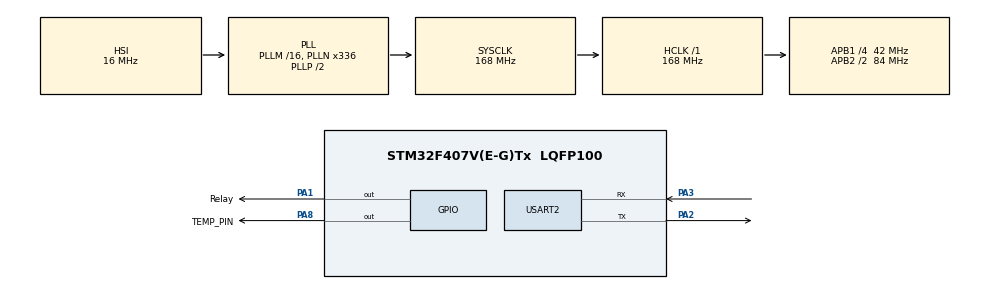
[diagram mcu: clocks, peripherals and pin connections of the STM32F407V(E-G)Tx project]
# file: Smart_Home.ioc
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FREERTOS.Queues01=Uart_queue,256,uint8_t,0,Dynamic,NULL,NULL;Temp_queue,10,uint8_t,0,Dynamic,NULL,NULL
FREERTOS.Tasks01=UART_TASK,24,128,UART_Task,Default,NULL,Dynamic,NULL,NULL;SENSOR_TASK,8,128,Sensor_Task,Default,NULL,Dynamic,NULL,NULL;TEMP_TASK,24,128,Temp_task,Default,NULL,Dynamic,NULL,NULL;TEMP_UART_TASK,8,128,Temp_Uart_Task,Default,NULL,Dynamic,NULL,NULL
Mcu.Family=STM32F4
Mcu.Name=STM32F407V(E-G)Tx
Mcu.Package=LQFP100
NVIC.PriorityGroup=NVIC_PRIORITYGROUP_4
NVIC.TIM5_IRQn=true\:15\:0\:false\:false\:true\:false\:false\:true\:true
NVIC.TimeBase=TIM5_IRQn
NVIC.TimeBaseIP=TIM5
NVIC.USART2_IRQn=true\:5\:0\:true\:false\:true\:true\:true\:true\:true
PA1.GPIO_Label=Relay
PA1.GPIO_ModeDefaultOutputPP=GPIO_MODE_OUTPUT_PP
PA1.GPIO_PuPd=GPIO_PULLUP
PA1.PinState=GPIO_PIN_SET
PA1.Signal=GPIO_Output
PA13.Mode=Trace_Asynchronous_SW
PA13.Signal=SYS_JTMS-SWDIO
PA14.Mode=Trace_Asynchronous_SW
PA14.Signal=SYS_JTCK-SWCLK
PA2.Mode=Asynchronous
PA2.Signal=USART2_TX
PA3.Mode=Asynchronous
PA3.Signal=USART2_RX
PA8.GPIO_Label=TEMP_PIN
PA8.GPIO_ModeDefaultOutputPP=GPIO_MODE_OUTPUT_OD
PA8.GPIO_PuPd=GPIO_PULLUP
PA8.Signal=GPIO_Output
PB3.Mode=Trace_Asynchronous_SW
PB3.Signal=SYS_JTDO-SWO
ProjectManager.HeapSize=0x200
ProjectManager.StackSize=0x400
ProjectManager.TargetToolchain=STM32CubeIDE
RCC.48MHZClocksFreq_Value=48000000
RCC.AHBFreq_Value=168000000
RCC.APB1CLKDivider=RCC_HCLK_DIV4
RCC.APB1Freq_Value=42000000
RCC.APB1TimFreq_Value=84000000
RCC.APB2CLKDivider=RCC_HCLK_DIV2
RCC.APB2Freq_Value=84000000
RCC.APB2TimFreq_Value=168000000
RCC.CortexFreq_Value=168000000
RCC.HCLKFreq_Value=168000000
RCC.HSE_VALUE=8000000
RCC.HSI_VALUE=16000000
RCC.LSE_VALUE=32768
RCC.PLLN=336
RCC.PLLQ=7
RCC.SYSCLKFreq_VALUE=168000000
RCC.SYSCLKSource=RCC_SYSCLKSOURCE_PLLCLK
RCC.VCOOutputFreq_Value=336000000
TIM6.AutoReloadPreload=TIM_AUTORELOAD_PRELOAD_ENABLE
TIM6.Prescaler=84 - 1
USART2.VirtualMode=VM_ASYNC
VP_FREERTOS_VS_CMSIS_V2.Mode=CMSIS_V2
VP_SYS_VS_tim5.Mode=TIM5
VP_TIM6_VS_ClockSourceINT.Mode=Enable_Timer
board=STM32F407G-DISC1

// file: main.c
/* USER CODE BEGIN Header */
/**
  ******************************************************************************
  * @file           : main.c
  * @brief          : Main program body
  ******************************************************************************
  * @attention
  *
  * Copyright (c) 2025 STMicroelectronics.
  * All rights reserved.
  *
  * This software is licensed under terms that can be found in the LICENSE file
  * in the root directory of this software component.
  * If no LICENSE file comes with this software, it is provided AS-IS.
  *
  ******************************************************************************
  */
/* USER CODE END Header */
#include "main.h"
#include "cmsis_os.h"

/* USER CODE BEGIN Includes */
#include <stdio.h>
#include <string.h>
#include <math.h>
#include "strcture.h"
#include "relay_control.h"
#include "dht11_driver.h"
#include "queue.h"
/* USER CODE END Includes */

/* USER CODE BEGIN PD */
uint8_t rx;
provision_t g_provision;
command_t   g_command;
config_t    g_config;
#define MAX_PAYLOAD_SIZE  64

/* USER CODE END PD */

TIM_HandleTypeDef htim6;

UART_HandleTypeDef huart2;

/* Definitions for UART_TASK */
osThreadId_t UART_TASKHandle;
const osThreadAttr_t UART_TASK_attributes = {
  .name = "UART_TASK",
  .stack_size = 128 * 4,
  .priority = (osPriority_t) osPriorityNormal,
};
/* Definitions for SENSOR_TASK */
osThreadId_t SENSOR_TASKHandle;
const osThreadAttr_t SENSOR_TASK_attributes = {
  .name = "SENSOR_TASK",
  .stack_size = 128 * 4,
  .priority = (osPriority_t) osPriorityLow,
};
/* Definitions for TEMP_TASK */
osThreadId_t TEMP_TASKHandle;
const osThreadAttr_t TEMP_TASK_attributes = {
  .name = "TEMP_TASK",
  .stack_size = 128 * 4,
  .priority = (osPriority_t) osPriorityNormal,
};
/* Definitions for TEMP_UART_TASK */
osThreadId_t TEMP_UART_TASKHandle;
const osThreadAttr_t TEMP_UART_TASK_attributes = {
  .name = "TEMP_UART_TASK",
  .stack_size = 128 * 4,
  .priority = (osPriority_t) osPriorityLow,
};
/* Definitions for Uart_queue */
osMessageQueueId_t Uart_queueHandle;
const osMessageQueueAttr_t Uart_queue_attributes = {
  .name = "Uart_queue"
};
/* Definitions for Temp_queue */
osMessageQueueId_t Temp_queueHandle;
const osMessageQueueAttr_t Temp_queue_attributes = {
  .name = "Temp_queue"
};

void SystemClock_Config(void);
static void MX_GPIO_Init(void);
static void MX_USART2_UART_Init(void);
static void MX_TIM6_Init(void);
void UART_Task(void *argument);
void Sensor_Task(void *argument);
void Temp_task(void *argument);
void Temp_Uart_Task(void *argument);
void Handle_Command_Frame(frame_header_t *header,
                          uint8_t *payload,
                          uint16_t payloadLen);

int main(void)
{

  /* MCU Configuration--------------------------------------------------------*/

  /* Reset of all peripherals, Initializes the Flash interface and the Systick. */
  HAL_Init();

  /* Configure the system clock */
  SystemClock_Config();

  /* Initialize all configured peripherals */
  MX_GPIO_Init();
  MX_USART2_UART_Init();
  MX_TIM6_Init();
  /* USER CODE BEGIN 2 */

  // Initialize DHT11 (pin example PA8)
    dht11_init(GPIOA, GPIO_PIN_8, &htim6);

   Relay_Init();

   HAL_UART_Receive_IT(&huart2, &rx, 1);

  /* USER CODE END 2 */

  /* Init scheduler */
  osKernelInitialize();

  /* Create the queue(s) */
  /* creation of Uart_queue */
  Uart_queueHandle = osMessageQueueNew (256, sizeof(uint8_t), &Uart_queue_attributes);

  /* creation of Temp_queue */
  Temp_queueHandle = osMessageQueueNew (10, sizeof(dht11_data), &Temp_queue_attributes);

  /* Create the thread(s) */
  /* creation of UART_TASK */
  UART_TASKHandle = osThreadNew(UART_Task, NULL, &UART_TASK_attributes);

  /* creation of SENSOR_TASK */
  SENSOR_TASKHandle = osThreadNew(Sensor_Task, NULL, &SENSOR_TASK_attributes);

  /* creation of TEMP_TASK */
  TEMP_TASKHandle = osThreadNew(Temp_task, NULL, &TEMP_TASK_attributes);

  /* creation of TEMP_UART_TASK */
  TEMP_UART_TASKHandle = osThreadNew(Temp_Uart_Task, NULL, &TEMP_UART_TASK_attributes);

  /* Start scheduler */
  osKernelStart();

  /* We should never get here as control is now taken by the scheduler */

  /* Infinite loop */
  while (1)
  {

  }
}

void SystemClock_Config(void)
{
  RCC_OscInitTypeDef RCC_OscInitStruct = {0};
  RCC_ClkInitTypeDef RCC_ClkInitStruct = {0};

  /** Configure the main internal regulator output voltage
  */
  __HAL_RCC_PWR_CLK_ENABLE();
  __HAL_PWR_VOLTAGESCALING_CONFIG(PWR_REGULATOR_VOLTAGE_SCALE1);

  /** Initializes the RCC Oscillators according to the specified parameters
  * in the RCC_OscInitTypeDef structure.
  */
  RCC_OscInitStruct.OscillatorType = RCC_OSCILLATORTYPE_HSI;
  RCC_OscInitStruct.HSIState = RCC_HSI_ON;
  RCC_OscInitStruct.HSICalibrationValue = RCC_HSICALIBRATION_DEFAULT;
  RCC_OscInitStruct.PLL.PLLState = RCC_PLL_ON;
  RCC_OscInitStruct.PLL.PLLSource = RCC_PLLSOURCE_HSI;
  RCC_OscInitStruct.PLL.PLLM = 16;
  RCC_OscInitStruct.PLL.PLLN = 336;
  RCC_OscInitStruct.PLL.PLLP = RCC_PLLP_DIV2;
  RCC_OscInitStruct.PLL.PLLQ = 7;
  if (HAL_RCC_OscConfig(&RCC_OscInitStruct) != HAL_OK)
  {
    Error_Handler();
  }

  /** Initializes the CPU, AHB and APB buses clocks
  */
  RCC_ClkInitStruct.ClockType = RCC_CLOCKTYPE_HCLK|RCC_CLOCKTYPE_SYSCLK
                              |RCC_CLOCKTYPE_PCLK1|RCC_CLOCKTYPE_PCLK2;
  RCC_ClkInitStruct.SYSCLKSource = RCC_SYSCLKSOURCE_PLLCLK;
  RCC_ClkInitStruct.AHBCLKDivider = RCC_SYSCLK_DIV1;
  RCC_ClkInitStruct.APB1CLKDivider = RCC_HCLK_DIV4;
  RCC_ClkInitStruct.APB2CLKDivider = RCC_HCLK_DIV2;

  if (HAL_RCC_ClockConfig(&RCC_ClkInitStruct, FLASH_LATENCY_5) != HAL_OK)
  {
    Error_Handler();
  }
}

static void MX_TIM6_Init(void)
{

  TIM_MasterConfigTypeDef sMasterConfig = {0};

  htim6.Instance = TIM6;
  htim6.Init.Prescaler = 84 - 1;
  htim6.Init.CounterMode = TIM_COUNTERMODE_UP;
  htim6.Init.Period = 65535;
  htim6.Init.AutoReloadPreload = TIM_AUTORELOAD_PRELOAD_ENABLE;
  if (HAL_TIM_Base_Init(&htim6) != HAL_OK)
  {
    Error_Handler();
  }
  sMasterConfig.MasterOutputTrigger = TIM_TRGO_RESET;
  sMasterConfig.MasterSlaveMode = TIM_MASTERSLAVEMODE_DISABLE;
  if (HAL_TIMEx_MasterConfigSynchronization(&htim6, &sMasterConfig) != HAL_OK)
  {
    Error_Handler();
  }

}

static void MX_USART2_UART_Init(void)
{

  huart2.Instance = USART2;
  huart2.Init.BaudRate = 115200;
  huart2.Init.WordLength = UART_WORDLENGTH_8B;
  huart2.Init.StopBits = UART_STOPBITS_1;
  huart2.Init.Parity = UART_PARITY_NONE;
  huart2.Init.Mode = UART_MODE_TX_RX;
  huart2.Init.HwFlowCtl = UART_HWCONTROL_NONE;
  huart2.Init.OverSampling = UART_OVERSAMPLING_16;
  if (HAL_UART_Init(&huart2) != HAL_OK)
  {
    Error_Handler();
  }

}

static void MX_GPIO_Init(void)
{
  GPIO_InitTypeDef GPIO_InitStruct = {0};

  /* GPIO Ports Clock Enable */
  __HAL_RCC_GPIOA_CLK_ENABLE();
  __HAL_RCC_GPIOB_CLK_ENABLE();

  /*Configure GPIO pin Output Level */
  HAL_GPIO_WritePin(Relay_GPIO_Port, Relay_Pin, GPIO_PIN_SET);

  /*Configure GPIO pin Output Level */
  HAL_GPIO_WritePin(TEMP_PIN_GPIO_Port, TEMP_PIN_Pin, GPIO_PIN_RESET);

  /*Configure GPIO pin : Relay_Pin */
  GPIO_InitStruct.Pin = Relay_Pin;
  GPIO_InitStruct.Mode = GPIO_MODE_OUTPUT_PP;
  GPIO_InitStruct.Pull = GPIO_PULLUP;
  GPIO_InitStruct.Speed = GPIO_SPEED_FREQ_LOW;
  HAL_GPIO_Init(Relay_GPIO_Port, &GPIO_InitStruct);

  /*Configure GPIO pin : TEMP_PIN_Pin */
  GPIO_InitStruct.Pin = TEMP_PIN_Pin;
  GPIO_InitStruct.Mode = GPIO_MODE_OUTPUT_OD;
  GPIO_InitStruct.Pull = GPIO_PULLUP;
  GPIO_InitStruct.Speed = GPIO_SPEED_FREQ_LOW;
  HAL_GPIO_Init(TEMP_PIN_GPIO_Port, &GPIO_InitStruct);

}

/* USER CODE BEGIN 4 */

int _write(int file, char *ptr, int len)
{
  (void)file;
  int DataIdx;

  for (DataIdx = 0; DataIdx < len; DataIdx++)
  {
    ITM_SendChar(*ptr++);
  }
  return len;
}
void HAL_UART_RxCpltCallback(UART_HandleTypeDef *huart)
{
    if (huart->Instance == USART2)
    {
        osMessageQueuePut(Uart_queueHandle, &rx, 0, 0);

        /* Restart RX for next byte */
       HAL_UART_Receive_IT(&huart2, &rx, 1);
    }
}
void Handle_Command_Frame(frame_header_t *header,
                          uint8_t *payload,
                          uint16_t payloadLen)
{
    /* Copy header */
    memcpy(&g_command.header, header, sizeof(frame_header_t));

    /* Validate payload length */
    if (payloadLen < sizeof(command_type_t))
    {
        printf("Invalid command payload length\r\n");
        return;
    }

    /* Copy command */
    memcpy(&g_command.command,
           payload,
           sizeof(command_type_t));

    /* If actuator data exists */
    if (payloadLen >= sizeof(command_type_t) + sizeof(actuator_t))
    {
        memcpy(&g_command.actuator,
               payload + sizeof(command_type_t),
               sizeof(actuator_t));
    }

    /* Process command */
    Relay_ProcessCommand(&g_command);

    printf("Command Type : 0x%02X\r\n",
           g_command.command.command_type);
}

void Handle_Provision_Frame(frame_header_t *header,uint8_t *payload,uint16_t payloadLen)
{
    memcpy(&g_provision.header, header, sizeof(frame_header_t));

    if (payloadLen < sizeof(provision_t))
    {
        printf("Invalid provision payload\r\n");
        return;
    }

    memcpy(&g_provision.command, payload,sizeof(g_provision.command));
    memcpy(&g_provision.actuator, payload,sizeof(g_provision.actuator));
    memcpy(&g_provision.sensor, payload,sizeof(g_provision.sensor));
    memcpy(&g_provision.padding,payload,sizeof(g_provision.padding));

    printf("Provision Frame Received\r\n");
}

void Handle_Config_Frame(frame_header_t *header,uint8_t *payload,uint16_t payloadLen)
{
	//copy header
	memcpy(&g_config.header,header,sizeof(frame_header_t));

	if (payloadLen < sizeof(config_t))
	    {
	        printf("Invalid config payload\r\n");
	        return;
	    }

	memcpy(&g_config.interval,payload,sizeof(g_config.interval));
	memcpy(&g_config.sensor,payload,sizeof(g_config.sensor));

}
/* USER CODE END 4 */

void UART_Task(void *argument)
{
  /* USER CODE BEGIN 5 */
  /* Infinite loop */
	 uint8_t data;

	    frame_header_t rx_header;
	    uint8_t headerIndex = 0;

	    uint8_t payload[MAX_PAYLOAD_SIZE];
	    uint16_t payloadIndex = 0;

	    uint8_t eeCount = 0;

	    enum
	    {
	        RX_HEADER,
	        RX_PAYLOAD
	    } rxState = RX_HEADER;

	    for (;;)
	    {
	        if (osMessageQueueGet(Uart_queueHandle, &data, NULL, osWaitForever) == osOK)
	        {
	            /* ================= EOF DETECTION ================= */
	            if (data == 0xEE)
	            {
	                eeCount++;
	                if (eeCount == 2)
	                {
	                    printf("\r\n--- FRAME RECEIVED ---\r\n");
	                    printf("Version    : %d\r\n", rx_header.version);
	                    printf("Frame Type : 0x%02X\r\n", rx_header.frame_type);
	                    printf("Device ID  : %d\r\n", rx_header.device_id);
	                    printf("Payload Len: %d\r\n", payloadIndex);

	                    /* ========== PROCESS FRAME ========== */
	                    switch (rx_header.frame_type)
	                    {
	                        case eFrame_Type_Command:
	                        	Handle_Command_Frame(&rx_header,payload,payloadIndex);
	                            break;

	                        case eFrame_Type_Provision:
	                        	 Handle_Provision_Frame(&rx_header,payload,payloadIndex);                        	    printf("Provision Frame Received\r\n");
	                            break;

	                        case eFrame_Type_Config:
	                        	Handle_Config_Frame(&rx_header,payload,payloadIndex);
	                            break;

	                        default:
	                            printf("Unknown Frame Type\r\n");
	                            break;
	                    }

	                    printf("--- FRAME DONE ---\r\n\r\n");

	                    /* ========== RESET STATE ========== */
	                    rxState = RX_HEADER;
	                    headerIndex = 0;
	                    payloadIndex = 0;
	                    eeCount = 0;
	                    memset(&rx_header, 0, sizeof(rx_header));
	                    memset(payload, 0, sizeof(payload));

	                    continue;
	                }
	                continue;
	            }
	            else
	            {
	                eeCount = 0;
	            }

	            /* ================= HEADER RECEIVE ================= */
	            if (rxState == RX_HEADER)
	            {
	                ((uint8_t *)&rx_header)[headerIndex++] = data;

	                if (headerIndex == sizeof(frame_header_t))
	                {
	                    rxState = RX_PAYLOAD;
	                }
	            }
	            /* ================= PAYLOAD RECEIVE ================= */
	            else if (rxState == RX_PAYLOAD)
	            {
	                if (payloadIndex < MAX_PAYLOAD_SIZE)
	                {
	                    payload[payloadIndex++] = data;
	                }
	            }
	        }
	    }
  /* USER CODE END 5 */
}

void Sensor_Task(void *argument)
{
  /* USER CODE BEGIN Sensor_Task */
  /* Infinite loop */
	for (;;)
	    {
//	        /* Provision Data */
//	        printf("\n--- Provision Frame ---\n");
//	        printf("Frame Type      : 0x%02X\r\n", g_provision.header.frame_type);
//	        printf("Device ID       : %d\n", g_provision.header.device_id);
//	        printf("Command Type    : %d\n", g_provision.command.command_type);
//	        printf("Interval Time   : %lu\n", g_provision.interval.interval_time);
//	        printf("Temp Threshold  : %d\n", g_provision.sensor.temperature_threshold);
//	        printf("Humidity Thres  : %d\n", g_provision.sensor.humidity_threshold);
//	        printf("Fan Speed       : %d\n", g_provision.actuator.fan_default_speed);
//
//	        /* Command Data */
//	        printf("\n--- Command Frame ---\n");
//	        printf("Frame Type      : 0x%02X\r\n", g_command.header.frame_type);
//	        printf("Command Type    : %d\n", g_command.command.command_type);
//	        printf("AC Default Temp : %d\n", g_command.actuator.ac_default_temp);
//
//	        osDelay(2000);
	    }

  /* USER CODE END Sensor_Task */
}

void Temp_task(void *argument)
{
  /* USER CODE BEGIN Temp_task */
  /* Infinite loop */
	dht11_data dht;
		    int curr_temp;
		    int prev_temp = -100;  // invalid initial value

		    dht11_data msg;

		    while (1)
		    {

		        dht = dht11_data_read();

		        if (!dht.error)
		        {

		            curr_temp = dht.temperature;  // no float needed

		            if(curr_temp != prev_temp)   // just check for change
		            {

		                msg.temperature = dht.temperature;
		                msg.humidity    = dht.humidity;

		                osMessageQueuePut(Temp_queueHandle, &msg, 0, 0);
		                prev_temp = curr_temp;
		            }
		        }

		        osDelay(2000);
		    }
  /* USER CODE END Temp_task */
}

void Temp_Uart_Task(void *argument)
{
  /* USER CODE BEGIN Temp_Uart_Task */
  /* Infinite loop */
	        dht11_data  rx_msg;
		    char uart_buf[50];
		    uint16_t len;

		    while (1)
		    {

		        if (osMessageQueueGet(Temp_queueHandle, &rx_msg, NULL,osWaitForever) == osOK)
		        {
		        	len = snprintf(uart_buf, sizeof(uart_buf),
		        	                           "Temperature: %d C, Humidity: %d %%\r\n",
		        	                           rx_msg.temperature,
		        	                           rx_msg.humidity);

		        	            // Send via UART
		        	            HAL_UART_Transmit(&huart2, (uint8_t *)uart_buf, len, HAL_MAX_DELAY);

		        	            // Debug print also works now
		        	            printf("DEBUG: Temperature = %d C, Humidity = %d %%\n",
		        	                   rx_msg.temperature,
		        	                   rx_msg.humidity);
		        }
		    }
  /* USER CODE END Temp_Uart_Task */
}

void HAL_TIM_PeriodElapsedCallback(TIM_HandleTypeDef *htim)
{
  if (htim->Instance == TIM5)
  {
    HAL_IncTick();
  }
}

void Error_Handler(void)
{
  __disable_irq();
  while (1)
  {
  }
}
